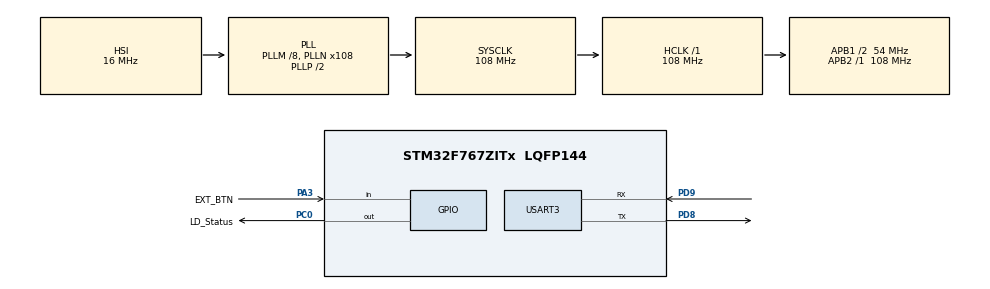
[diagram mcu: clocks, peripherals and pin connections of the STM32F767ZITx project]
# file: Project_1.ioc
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Mcu.Family=STM32F7
Mcu.Name=STM32F767ZITx
Mcu.Package=LQFP144
NVIC.PriorityGroup=NVIC_PRIORITYGROUP_4
PA3.GPIO_Label=EXT_BTN
PA3.Signal=GPIO_Input
PC0.GPIO_Label=LD_Status
PC0.Signal=GPIO_Output
PD8.Mode=Asynchronous
PD8.Signal=USART3_TX
PD9.Mode=Asynchronous
PD9.Signal=USART3_RX
PH0/OSC_IN.Mode=HSE-External-Oscillator
PH0/OSC_IN.Signal=RCC_OSC_IN
PH1/OSC_OUT.Mode=HSE-External-Oscillator
PH1/OSC_OUT.Signal=RCC_OSC_OUT
ProjectManager.HeapSize=0x200
ProjectManager.StackSize=0x400
ProjectManager.TargetToolchain=STM32CubeIDE
RCC.48MHZClocksFreq_Value=24000000
RCC.AHBFreq_Value=108000000
RCC.APB1CLKDivider=RCC_HCLK_DIV2
RCC.APB1Freq_Value=54000000
RCC.APB1TimFreq_Value=108000000
RCC.APB2Freq_Value=108000000
RCC.APB2TimFreq_Value=108000000
RCC.CortexFreq_Value=108000000
RCC.HCLKFreq_Value=108000000
RCC.HSE_VALUE=8000000
RCC.HSI_VALUE=16000000
RCC.LSE_VALUE=32768
RCC.PLLM=8
RCC.PLLMUL=RCC_PLL_MUL9
RCC.PLLN=108
RCC.PRESCALERUSB=RCC_USBCLKSOURCE_PLL_DIV1_5
RCC.SYSCLKFreq_VALUE=108000000
RCC.SYSCLKSource=RCC_SYSCLKSOURCE_PLLCLK
RCC.SYSCLKSourceVirtual=RCC_SYSCLKSOURCE_PLLCLK
RCC.USBFreq_Value=108000000
RCC.VCOOutputFreq_Value=216000000
TIM2.Period=4294967295
TIM2.Prescaler=108-1
USART3.VirtualMode-Asynchronous=VM_ASYNC
VP_TIM2_VS_ClockSourceINT.Mode=Internal
board=NUCLEO-F767ZI

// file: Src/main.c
/* USER CODE BEGIN Header */
/**
  ******************************************************************************
  * @file           : main.c
  * @brief          : Main program body
  ******************************************************************************
  * @attention
  *
  * Copyright (c) 2025 STMicroelectronics.
  * All rights reserved.
  *
  * This software is licensed under terms that can be found in the LICENSE file
  * in the root directory of this software component.
  * If no LICENSE file comes with this software, it is provided AS-IS.
  *
  ******************************************************************************
  */
/* USER CODE END Header */
#include "main.h"
#include "tim.h"
#include "usart.h"
#include "gpio.h"
#include <string.h>
#include <stdio.h>

void SystemClock_Config(void);

/* USER CODE BEGIN 0 */

volatile uint8_t counting = 0;
uint32_t start_time = 0;
uint32_t last_usart = 0;

uint8_t button_prev = 0;
char msg[64];

/* USER CODE END 0 */

int main(void)
{

  /* MCU Configuration--------------------------------------------------------*/

  /* Reset of all peripherals, Initializes the Flash interface and the Systick. */
  HAL_Init();

  /* Configure the system clock */
  SystemClock_Config();

  /* Initialize all configured peripherals */
  MX_GPIO_Init();
  MX_TIM2_Init();
  MX_USART3_UART_Init();
  /* USER CODE BEGIN 2 */

  HAL_TIM_Base_Start(&htim2);

  char msg[64];

  snprintf(msg, sizeof(msg), "Press button to start\r\n");
  HAL_UART_Transmit(&huart3, (uint8_t*)msg, strlen(msg), HAL_MAX_DELAY);

  int8_t button_prev = 0;

  /* USER CODE END 2 */

  /* Infinite loop */
  while (1)
  {

    /* USER CODE BEGIN 3 */
    uint8_t button = HAL_GPIO_ReadPin(EXT_BTN_GPIO_Port, EXT_BTN_Pin) == GPIO_PIN_SET ? 1 : 0;

    // På kanten fra lav -> høy (trykk)
    if (button && !button_prev)  {
      if (!counting) {
        // Start telling
        counting = 1;
        start_time = __HAL_TIM_GET_COUNTER(&htim2);
        HAL_GPIO_WritePin(LD_Status_GPIO_Port, LD_Status_Pin, GPIO_PIN_SET); // LED på

        snprintf(msg, sizeof(msg), "Counting... Press button to stop\r\n");
        HAL_UART_Transmit(&huart3, (uint8_t*)msg, strlen(msg), HAL_MAX_DELAY);
      }
      else {
        // Stopp telling
        counting = 0;
        HAL_GPIO_WritePin(LD_Status_GPIO_Port, LD_Status_Pin, GPIO_PIN_RESET); // LED av

        uint32_t now = __HAL_TIM_GET_COUNTER(&htim2);
        uint32_t elapsed_us = now - start_time;
        uint32_t elapsed_ms = elapsed_us / 1000;

        // Skriv ut sluttmelding med eksakt tid
        snprintf(msg, sizeof(msg), "Total time: %lu ms\r\nPress button to start\r\n", elapsed_ms);
        HAL_UART_Transmit(&huart3, (uint8_t*)msg, strlen(msg), HAL_MAX_DELAY);
      }
    }
    button_prev = button;

    // Hvis teller aktiv, skriv tid hvert 10 ms
    if (counting) {
      uint32_t now = __HAL_TIM_GET_COUNTER(&htim2);
      uint32_t elapsed_us = now - start_time; // Mikrosekunder
      uint32_t elapsed_ms = elapsed_us / 1000;

      if (elapsed_ms - last_usart >= 10) {
        last_usart = elapsed_ms;
        snprintf(msg, sizeof(msg), "Time: %lu ms\r\n", elapsed_ms);
        HAL_UART_Transmit(&huart3, (uint8_t*)msg, strlen(msg), HAL_MAX_DELAY);
      }
    }
  }
  /* USER CODE END 3 */
}

void SystemClock_Config(void)
{
  RCC_OscInitTypeDef RCC_OscInitStruct = {0};
  RCC_ClkInitTypeDef RCC_ClkInitStruct = {0};

  /** Configure the main internal regulator output voltage
  */
  __HAL_RCC_PWR_CLK_ENABLE();
  __HAL_PWR_VOLTAGESCALING_CONFIG(PWR_REGULATOR_VOLTAGE_SCALE3);

  /** Initializes the RCC Oscillators according to the specified parameters
  * in the RCC_OscInitTypeDef structure.
  */
  RCC_OscInitStruct.OscillatorType = RCC_OSCILLATORTYPE_HSI;
  RCC_OscInitStruct.HSIState = RCC_HSI_ON;
  RCC_OscInitStruct.HSICalibrationValue = RCC_HSICALIBRATION_DEFAULT;
  RCC_OscInitStruct.PLL.PLLState = RCC_PLL_ON;
  RCC_OscInitStruct.PLL.PLLSource = RCC_PLLSOURCE_HSI;
  RCC_OscInitStruct.PLL.PLLM = 8;
  RCC_OscInitStruct.PLL.PLLN = 108;
  RCC_OscInitStruct.PLL.PLLP = RCC_PLLP_DIV2;
  RCC_OscInitStruct.PLL.PLLQ = 2;
  RCC_OscInitStruct.PLL.PLLR = 2;
  if (HAL_RCC_OscConfig(&RCC_OscInitStruct) != HAL_OK)
  {
    Error_Handler();
  }

  /** Activate the Over-Drive mode
  */
  if (HAL_PWREx_EnableOverDrive() != HAL_OK)
  {
    Error_Handler();
  }

  /** Initializes the CPU, AHB and APB buses clocks
  */
  RCC_ClkInitStruct.ClockType = RCC_CLOCKTYPE_HCLK|RCC_CLOCKTYPE_SYSCLK
                              |RCC_CLOCKTYPE_PCLK1|RCC_CLOCKTYPE_PCLK2;
  RCC_ClkInitStruct.SYSCLKSource = RCC_SYSCLKSOURCE_PLLCLK;
  RCC_ClkInitStruct.AHBCLKDivider = RCC_SYSCLK_DIV1;
  RCC_ClkInitStruct.APB1CLKDivider = RCC_HCLK_DIV2;
  RCC_ClkInitStruct.APB2CLKDivider = RCC_HCLK_DIV1;

  if (HAL_RCC_ClockConfig(&RCC_ClkInitStruct, FLASH_LATENCY_3) != HAL_OK)
  {
    Error_Handler();
  }
}

void Error_Handler(void)
{
  __disable_irq();
  while (1)
  {
  }
}
